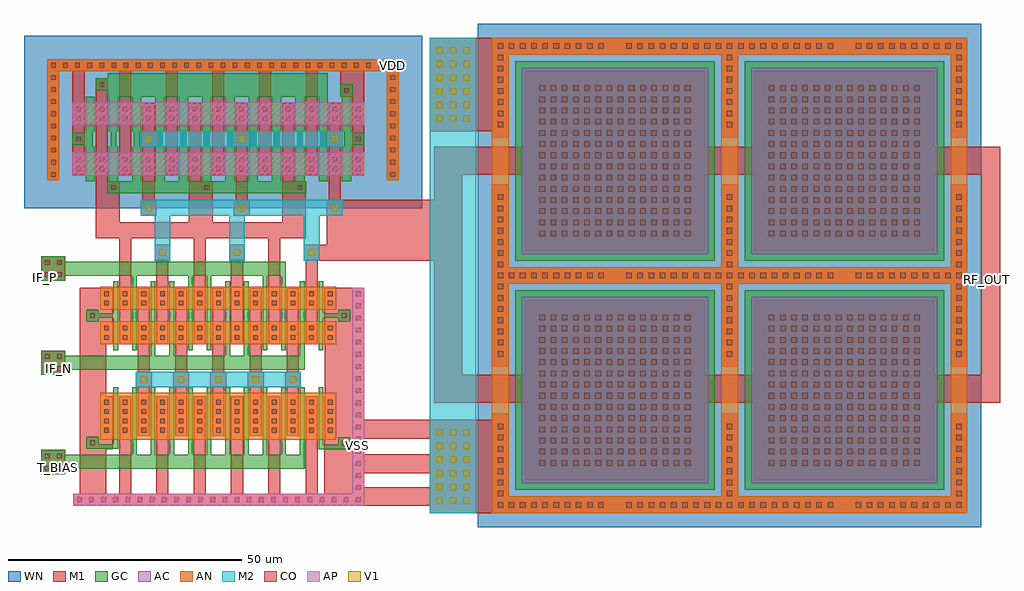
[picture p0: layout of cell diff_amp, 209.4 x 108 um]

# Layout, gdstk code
from math import pi, radians
import gdstk
lib = gdstk.Library(unit=1e-6, precision=1e-07)
def R(c, l, rs):  # rectangles x0, y0, x1, y1
    for r in rs: c.add(gdstk.rectangle(r[:2], r[2:], *l))
def A(c, l, x, y, w, h, nx, ny, dx, dy):  # array of equal rectangles
    R(c, l, [(x+i*dx, y+j*dy, x+i*dx+w, y+j*dy+h) for i in range(nx) for j in range(ny)])
def P(c, l, *ps):  # polygons
    for p in ps: c.add(gdstk.Polygon(p, *l))
AP = (3, 1)
AN = (3, 2)
AC = (3, 4)
GC = (8, 1)
CO = (11, 0)
M1 = (13, 0)
V1 = (19, 0)
M2 = (20, 0)
WN = (140, 0)

cont_g = lib.new_cell('cont_g')
R(cont_g, GC, [(-1.3,-1.3,1.3,1.3)])
R(cont_g, CO, [(-0.5,-0.5,0.5,0.5)])
R(cont_g, M1, [(-1.3,-1.3,1.3,1.3)])

moscap = lib.new_cell('moscap')
P(moscap, AN, [(-26.4,-26.4),(-26.4,22.8),(-22.8,22.8),(-22.8,-22.8),(22.8,-22.8),(22.8,22.8),(-26.4,22.8),(-26.4,26.4),(26.4,26.4),(26.4,-26.4)])
R(moscap, AC, [(-20,-20,20,20)])
R(moscap, GC, [(-21.4,-21.4,21.4,21.4)])
A(moscap, CO, -25.2, -25.2, 1.2, 1.2, 1, 10, 0, 2.4)
A(moscap, CO, -25.2, -25.2, 1.2, 1.2, 8, 2, 2.4, 49.2)
A(moscap, CO, 7.2, -25.2, 1.2, 1.2, 8, 2, 2.4, 49.2)
A(moscap, CO, 24, -25.2, 1.2, 1.2, 1, 10, 0, 2.4)
A(moscap, CO, -16.2, -16.2, 1.2, 1.2, 14, 14, 2.4, 2.4)
A(moscap, CO, -25.2, 2.4, 1.2, 1.2, 1, 10, 0, 2.4)
A(moscap, CO, 24, 2.4, 1.2, 1.2, 1, 10, 0, 2.4)
R(moscap, M1, [(-19.3,-19.3,19.3,19.3)])
P(moscap, M1, [(-26.4,-26.4),(-26.4,26.4),(-5,26.4),(-5,22.8),(-22.8,22.8),(-22.8,-22.8),(-5,-22.8),(-5,-26.4)],
  [(5,-26.4),(5,-22.8),(22.8,-22.8),(22.8,22.8),(5,22.8),(5,26.4),(26.4,26.4),(26.4,-26.4)])
R(moscap, WN, [(-29.4,-29.4,29.4,29.4)])

via_1 = lib.new_cell('via_1')
R(via_1, M1, [(-1.7,-1.7,1.7,1.7)])
R(via_1, V1, [(-0.7,-0.7,0.7,0.7)])
R(via_1, M2, [(-1.7,-1.7,1.7,1.7)])

cont_n = lib.new_cell('cont_n')
R(cont_n, AN, [(-1.3,-1.3,1.3,1.3)])
R(cont_n, CO, [(-0.5,-0.5,0.5,0.5)])
R(cont_n, M1, [(-1.3,-1.3,1.3,1.3)])

fet_p_3 = lib.new_cell('fet_p$3')
R(fet_p_3, AP, [(-3.8,-2.5,3.8,2.5)])
R(fet_p_3, CO, [(-3,-1.5,-2,-0.5), (2,-1.5,3,-0.5), (-3,0.5,-2,1.5), (2,0.5,3,1.5)])
R(fet_p_3, M1, [(-3.8,-2.3,-1.2,2.3), (1.2,-2.3,3.8,2.3)])
fet_p_3.add(gdstk.FlexPath([(0,-3.7),(0,3.7)], 2, ends="flush", simple_path=True, layer=8, datatype=1))  # GC

fet_p = lib.new_cell('fet_p')
R(fet_p, AP, [(-26.3,-2.5,26.3,2.5)])
A(fet_p, CO, -25.5, -1.5, 1, 1, 11, 2, 5, 2)
A(fet_p, M1, -26.3, -2.3, 2.6, 4.6, 11, 1, 5, 0)
fet_p.add(gdstk.FlexPath([(2.5,-3.7),(2.5,3.7)], 2, ends="flush", simple_path=True, layer=8, datatype=1))  # GC
fet_p.add(gdstk.FlexPath([(-2.5,-3.7),(-2.5,3.7)], 2, ends="flush", simple_path=True, layer=8, datatype=1))  # GC
fet_p.add(gdstk.FlexPath([(7.5,-3.7),(7.5,3.7)], 2, ends="flush", simple_path=True, layer=8, datatype=1))  # GC
fet_p.add(gdstk.FlexPath([(-7.5,-3.7),(-7.5,3.7)], 2, ends="flush", simple_path=True, layer=8, datatype=1))  # GC
fet_p.add(gdstk.FlexPath([(12.5,-3.7),(12.5,3.7)], 2, ends="flush", simple_path=True, layer=8, datatype=1))  # GC
fet_p.add(gdstk.FlexPath([(-12.5,-3.7),(-12.5,3.7)], 2, ends="flush", simple_path=True, layer=8, datatype=1))  # GC
fet_p.add(gdstk.FlexPath([(17.5,-3.7),(17.5,3.7)], 2, ends="flush", simple_path=True, layer=8, datatype=1))  # GC
fet_p.add(gdstk.FlexPath([(-17.5,-3.7),(-17.5,3.7)], 2, ends="flush", simple_path=True, layer=8, datatype=1))  # GC
fet_p.add(gdstk.FlexPath([(22.5,-3.7),(22.5,3.7)], 2, ends="flush", simple_path=True, layer=8, datatype=1))  # GC
fet_p.add(gdstk.FlexPath([(-22.5,-3.7),(-22.5,3.7)], 2, ends="flush", simple_path=True, layer=8, datatype=1))  # GC

via_1_2 = lib.new_cell('via_1$2')
R(via_1_2, M1, [(-5,-10,5,10)])
A(via_1_2, V1, -3.6, -8, 1.4, 1.4, 3, 3, 2.9, 2.9)
A(via_1_2, V1, -3.6, 0.8, 1.4, 1.4, 3, 3, 2.9, 2.9)
R(via_1_2, M2, [(-5,-10,5,10)])

cont_p = lib.new_cell('cont_p')
R(cont_p, AP, [(-1.3,-1.3,1.3,1.3)])
R(cont_p, CO, [(-0.5,-0.5,0.5,0.5)])
R(cont_p, M1, [(-1.3,-1.3,1.3,1.3)])

fet_n = lib.new_cell('fet_n')
R(fet_n, AN, [(-25.3,-2.5,25.3,2.5)])
A(fet_n, CO, -24.5, -1.5, 1, 1, 13, 2, 4, 2)
A(fet_n, M1, -25.3, -2.3, 2.6, 4.6, 13, 1, 4, 0)
fet_n.add(gdstk.FlexPath([(2,-3.7),(2,3.7)], 1, ends="flush", simple_path=True, layer=8, datatype=1))  # GC
fet_n.add(gdstk.FlexPath([(-2,-3.7),(-2,3.7)], 1, ends="flush", simple_path=True, layer=8, datatype=1))  # GC
fet_n.add(gdstk.FlexPath([(6,-3.7),(6,3.7)], 1, ends="flush", simple_path=True, layer=8, datatype=1))  # GC
fet_n.add(gdstk.FlexPath([(-6,-3.7),(-6,3.7)], 1, ends="flush", simple_path=True, layer=8, datatype=1))  # GC
fet_n.add(gdstk.FlexPath([(10,-3.7),(10,3.7)], 1, ends="flush", simple_path=True, layer=8, datatype=1))  # GC
fet_n.add(gdstk.FlexPath([(-10,-3.7),(-10,3.7)], 1, ends="flush", simple_path=True, layer=8, datatype=1))  # GC
fet_n.add(gdstk.FlexPath([(14,-3.7),(14,3.7)], 1, ends="flush", simple_path=True, layer=8, datatype=1))  # GC
fet_n.add(gdstk.FlexPath([(-14,-3.7),(-14,3.7)], 1, ends="flush", simple_path=True, layer=8, datatype=1))  # GC
fet_n.add(gdstk.FlexPath([(18,-3.7),(18,3.7)], 1, ends="flush", simple_path=True, layer=8, datatype=1))  # GC
fet_n.add(gdstk.FlexPath([(-18,-3.7),(-18,3.7)], 1, ends="flush", simple_path=True, layer=8, datatype=1))  # GC
fet_n.add(gdstk.FlexPath([(22,-3.7),(22,3.7)], 1, ends="flush", simple_path=True, layer=8, datatype=1))  # GC
fet_n.add(gdstk.FlexPath([(-22,-3.7),(-22,3.7)], 1, ends="flush", simple_path=True, layer=8, datatype=1))  # GC

fet_n_1 = lib.new_cell('fet_n$1')
R(fet_n_1, AN, [(-25.3,-5,25.3,5)])
A(fet_n_1, CO, -24.5, -3.5, 1, 1, 13, 4, 4, 2)
A(fet_n_1, M1, -25.3, -4.3, 2.6, 8.6, 13, 1, 4, 0)
fet_n_1.add(gdstk.FlexPath([(2,-6.2),(2,6.2)], 1, ends="flush", simple_path=True, layer=8, datatype=1))  # GC
fet_n_1.add(gdstk.FlexPath([(-2,-6.2),(-2,6.2)], 1, ends="flush", simple_path=True, layer=8, datatype=1))  # GC
fet_n_1.add(gdstk.FlexPath([(6,-6.2),(6,6.2)], 1, ends="flush", simple_path=True, layer=8, datatype=1))  # GC
fet_n_1.add(gdstk.FlexPath([(-6,-6.2),(-6,6.2)], 1, ends="flush", simple_path=True, layer=8, datatype=1))  # GC
fet_n_1.add(gdstk.FlexPath([(10,-6.2),(10,6.2)], 1, ends="flush", simple_path=True, layer=8, datatype=1))  # GC
fet_n_1.add(gdstk.FlexPath([(-10,-6.2),(-10,6.2)], 1, ends="flush", simple_path=True, layer=8, datatype=1))  # GC
fet_n_1.add(gdstk.FlexPath([(14,-6.2),(14,6.2)], 1, ends="flush", simple_path=True, layer=8, datatype=1))  # GC
fet_n_1.add(gdstk.FlexPath([(-14,-6.2),(-14,6.2)], 1, ends="flush", simple_path=True, layer=8, datatype=1))  # GC
fet_n_1.add(gdstk.FlexPath([(18,-6.2),(18,6.2)], 1, ends="flush", simple_path=True, layer=8, datatype=1))  # GC
fet_n_1.add(gdstk.FlexPath([(-18,-6.2),(-18,6.2)], 1, ends="flush", simple_path=True, layer=8, datatype=1))  # GC
fet_n_1.add(gdstk.FlexPath([(22,-6.2),(22,6.2)], 1, ends="flush", simple_path=True, layer=8, datatype=1))  # GC
fet_n_1.add(gdstk.FlexPath([(-22,-6.2),(-22,6.2)], 1, ends="flush", simple_path=True, layer=8, datatype=1))  # GC

diff_amp = lib.new_cell('diff_amp')
R(diff_amp, GC, [(21.5,-72,22.5,-71.1), (-22.5,-71.9,-21.5,-71.1), (-28.7,-7.1,-28.1,-3.7), (28,-7.1,28.7,-3.7)])
A(diff_amp, M1, -26.3, -23.3, 5.1, 6.2, 3, 1, 20, 0)
R(diff_amp, M1, [(54.8,-85.7,58.7,-65.7), (-29.7,-82.6,-24.1,-69.3), (22.7,-82,28.7,-69.2), (25.3,-72,25.7,-69.4), (-25.7,-71.9,-25.3,-69.3), (-29.7,-71.1,-24.1,-37.3), (22.8,-70.4,28.8,-37.3), (-25.7,-44.6,-25.3,-42), (25.3,-44.6,25.7,-42), (26.7,-25.5,52.3,-24.5), (55.3,-3.7,58.7,16.3), (26.2,3.7,28.7,9.1)])
R(diff_amp, WN, [(-41.7,-20.3,43.7,16.7)])
diff_amp.add(gdstk.FlexPath([(-22.5,-3.7),(-22.5,-7.1)], 1.2, ends="flush", simple_path=True, layer=8, datatype=1))  # GC
diff_amp.add(gdstk.FlexPath([(-17.5,-3.7),(-17.5,-7.1)], 1.2, ends="flush", simple_path=True, layer=8, datatype=1))  # GC
diff_amp.add(gdstk.FlexPath([(-12.5,-3.7),(-12.5,-7.1)], 1.2, ends="flush", simple_path=True, layer=8, datatype=1))  # GC
diff_amp.add(gdstk.FlexPath([(-7.5,-3.7),(-7.5,-7.1)], 1.2, ends="flush", simple_path=True, layer=8, datatype=1))  # GC
diff_amp.add(gdstk.FlexPath([(-2.5,-3.7),(-2.5,-7.1)], 1.2, ends="flush", simple_path=True, layer=8, datatype=1))  # GC
diff_amp.add(gdstk.FlexPath([(2.5,-3.7),(2.5,-7.1)], 1.2, ends="flush", simple_path=True, layer=8, datatype=1))  # GC
diff_amp.add(gdstk.FlexPath([(7.5,-3.7),(7.5,-7.1)], 1.2, ends="flush", simple_path=True, layer=8, datatype=1))  # GC
diff_amp.add(gdstk.FlexPath([(12.5,-3.7),(12.5,-7.1)], 1.2, ends="flush", simple_path=True, layer=8, datatype=1))  # GC
diff_amp.add(gdstk.FlexPath([(17.5,-3.7),(17.5,-7.1)], 1.2, ends="flush", simple_path=True, layer=8, datatype=1))  # GC
diff_amp.add(gdstk.FlexPath([(22.5,-3.7),(22.5,-7.1)], 1.2, ends="flush", simple_path=True, layer=8, datatype=1))  # GC
diff_amp.add(gdstk.FlexPath([(-23.7,6.2),(23.5,6.2)], 5, ends="flush", simple_path=True, layer=8, datatype=1))  # GC
diff_amp.add(gdstk.FlexPath([(-23.8,-15.8),(18.9,-15.8)], 2.6, ends="flush", simple_path=True, layer=8, datatype=1))  # GC
diff_amp.add(gdstk.FlexPath([(-27.5,-3.7),(-27.5,-7.1)], 1.2, ends="flush", simple_path=True, layer=8, datatype=1))  # GC
diff_amp.add(gdstk.FlexPath([(27.5,-3.7),(27.5,-7.1)], 1, ends="flush", simple_path=True, layer=8, datatype=1))  # GC
diff_amp.add(gdstk.FlexPath([(14.5,-33.2),(-33,-33.2)], 3, ends="flush", simple_path=True, layer=8, datatype=1))  # GC
diff_amp.add(gdstk.FlexPath([(18.5,-53.4),(-34.7,-53.4)], 3, ends="flush", simple_path=True, layer=8, datatype=1))  # GC
diff_amp.add(gdstk.FlexPath([(-18,-35.9),(-18,-34.7)], 1, ends="flush", simple_path=True, layer=8, datatype=1))  # GC
diff_amp.add(gdstk.FlexPath([(-2,-35.9),(-2,-34.7)], 1, ends="flush", simple_path=True, layer=8, datatype=1))  # GC
diff_amp.add(gdstk.FlexPath([(2,-50.7),(2,-51.9)], 1, ends="flush", simple_path=True, layer=8, datatype=1))  # GC
diff_amp.add(gdstk.FlexPath([(-14,-50.7),(-14,-51.9)], 1, ends="flush", simple_path=True, layer=8, datatype=1))  # GC
diff_amp.add(gdstk.FlexPath([(-10,-50.7),(-10,-51.9)], 1, ends="flush", simple_path=True, layer=8, datatype=1))  # GC
diff_amp.add(gdstk.FlexPath([(22.5,-43.3),(26.1,-43.3)], 1, ends="flush", simple_path=True, layer=8, datatype=1))  # GC
diff_amp.add(gdstk.FlexPath([(-22.5,-43.3),(-25.7,-43.3)], 1, ends="flush", simple_path=True, layer=8, datatype=1))  # GC
diff_amp.add(gdstk.FlexPath([(-22.5,-71.4),(-25.7,-71.4)], 1, ends="flush", simple_path=True, layer=8, datatype=1))  # GC
diff_amp.add(gdstk.FlexPath([(-6,-35.9),(-6,-34.7)], 1, ends="flush", simple_path=True, layer=8, datatype=1))  # GC
diff_amp.add(gdstk.FlexPath([(18.5,-74.7),(-37,-74.7)], 3, ends="flush", simple_path=True, layer=8, datatype=1))  # GC
diff_amp.add(gdstk.FlexPath([(2,-71.1),(2,-73.2)], 1, ends="flush", simple_path=True, layer=8, datatype=1))  # GC
diff_amp.add(gdstk.FlexPath([(6,-71.1),(6,-73.2)], 1, ends="flush", simple_path=True, layer=8, datatype=1))  # GC
diff_amp.add(gdstk.FlexPath([(10,-71.1),(10,-73.2)], 1, ends="flush", simple_path=True, layer=8, datatype=1))  # GC
diff_amp.add(gdstk.FlexPath([(14,-71.1),(14,-73.2)], 1, ends="flush", simple_path=True, layer=8, datatype=1))  # GC
diff_amp.add(gdstk.FlexPath([(-2,-71.1),(-2,-73.2)], 1, ends="flush", simple_path=True, layer=8, datatype=1))  # GC
diff_amp.add(gdstk.FlexPath([(22.5,-71.5),(25.7,-71.5)], 1, ends="flush", simple_path=True, layer=8, datatype=1))  # GC
diff_amp.add(gdstk.FlexPath([(6,-50.7),(6,-51.9)], 1, ends="flush", simple_path=True, layer=8, datatype=1))  # GC
diff_amp.add(gdstk.FlexPath([(-14,-71.1),(-14,-73.2)], 1, ends="flush", simple_path=True, layer=8, datatype=1))  # GC
diff_amp.add(gdstk.FlexPath([(-10,-71.1),(-10,-73.2)], 1, ends="flush", simple_path=True, layer=8, datatype=1))  # GC
diff_amp.add(gdstk.FlexPath([(-6,-71.1),(-6,-73.2)], 1, ends="flush", simple_path=True, layer=8, datatype=1))  # GC
diff_amp.add(gdstk.FlexPath([(-18,-71.1),(-18,-73.2)], 1, ends="flush", simple_path=True, layer=8, datatype=1))  # GC
diff_amp.add(gdstk.FlexPath([(18,-71.1),(18,-73.2)], 1, ends="flush", simple_path=True, layer=8, datatype=1))  # GC
diff_amp.add(gdstk.FlexPath([(18,-50.7),(18,-51.9)], 1, ends="flush", simple_path=True, layer=8, datatype=1))  # GC
diff_amp.add(gdstk.FlexPath([(14,-35.9),(14,-34.7)], 1, ends="flush", simple_path=True, layer=8, datatype=1))  # GC
diff_amp.add(gdstk.FlexPath([(10,-35.9),(10,-34.7)], 1, ends="flush", simple_path=True, layer=8, datatype=1))  # GC
diff_amp.add(gdstk.FlexPath([(-25,-2.3),(-25,-8.5)], 2.6, ends="flush", simple_path=True, layer=13, datatype=0))  # M1
diff_amp.add(gdstk.FlexPath([(-20,-2.3),(-20,-8.5)], 2.6, ends="flush", simple_path=True, layer=13, datatype=0))  # M1
diff_amp.add(gdstk.FlexPath([(-15,-2.3),(-15,-8.5)], 2.6, ends="flush", simple_path=True, layer=13, datatype=0))  # M1
diff_amp.add(gdstk.FlexPath([(-10,-2.3),(-10,-8.5)], 2.6, ends="flush", simple_path=True, layer=13, datatype=0))  # M1
diff_amp.add(gdstk.FlexPath([(-5,-2.3),(-5,-8.5)], 2.6, ends="flush", simple_path=True, layer=13, datatype=0))  # M1
diff_amp.add(gdstk.FlexPath([(0,-2.3),(0,-8.5)], 2.6, ends="flush", simple_path=True, layer=13, datatype=0))  # M1
diff_amp.add(gdstk.FlexPath([(5,-2.3),(5,-8.5)], 2.6, ends="flush", simple_path=True, layer=13, datatype=0))  # M1
diff_amp.add(gdstk.FlexPath([(10,-2.3),(10,-8.5)], 2.6, ends="flush", simple_path=True, layer=13, datatype=0))  # M1
diff_amp.add(gdstk.FlexPath([(15,-2.3),(15,-8.5)], 2.6, ends="flush", simple_path=True, layer=13, datatype=0))  # M1
diff_amp.add(gdstk.FlexPath([(20,-2.3),(20,-8.5)], 2.6, ends="flush", simple_path=True, layer=13, datatype=0))  # M1
diff_amp.add(gdstk.FlexPath([(25,-2.3),(25,-8.5)], 2.6, ends="flush", simple_path=True, layer=13, datatype=0))  # M1
diff_amp.add(gdstk.FlexPath([(-25,-13.1),(-25,-15.8),(-21.2,-15.8)], 2.6, ends="flush", simple_path=True, layer=13, datatype=0))  # M1
diff_amp.add(gdstk.FlexPath([(-15,-13.1),(-15,-18.5)], 2.6, ends="flush", simple_path=True, layer=13, datatype=0))  # M1
diff_amp.add(gdstk.FlexPath([(-5,-13.1),(-5,-15.8),(-1.2,-15.8)], 2.6, ends="flush", simple_path=True, layer=13, datatype=0))  # M1
diff_amp.add(gdstk.FlexPath([(5,-13.1),(5,-18.5)], 2.6, ends="flush", simple_path=True, layer=13, datatype=0))  # M1
diff_amp.add(gdstk.FlexPath([(15,-13.1),(15,-15.8),(18.8,-15.8)], 2.6, ends="flush", simple_path=True, layer=13, datatype=0))  # M1
diff_amp.add(gdstk.FlexPath([(25,-13.1),(25,-18.5)], 2.6, ends="flush", simple_path=True, layer=13, datatype=0))  # M1
diff_amp.add(gdstk.FlexPath([(-20,2.3),(-20,11.4)], 2.6, ends="flush", simple_path=True, layer=13, datatype=0))  # M1
diff_amp.add(gdstk.FlexPath([(-10,2.3),(-10,11.5)], 2.6, ends="flush", simple_path=True, layer=13, datatype=0))  # M1
diff_amp.add(gdstk.FlexPath([(-26.3,-25),(18.8,-25)], 3.4, ends="flush", simple_path=True, layer=13, datatype=0))  # M1
diff_amp.add(gdstk.FlexPath([(-25,2.3),(-25,7.4)], 2.6, ends="flush", simple_path=True, layer=13, datatype=0))  # M1
diff_amp.add(gdstk.FlexPath([(0,2.3),(0,11.5)], 2.6, ends="flush", simple_path=True, layer=13, datatype=0))  # M1
diff_amp.add(gdstk.FlexPath([(10,2.3),(10,11.5)], 2.6, ends="flush", simple_path=True, layer=13, datatype=0))  # M1
diff_amp.add(gdstk.FlexPath([(20,2.3),(20,11.5)], 2.6, ends="flush", simple_path=True, layer=13, datatype=0))  # M1
diff_amp.add(gdstk.FlexPath([(-16,-49.3),(-16,-60.6)], 2.6, ends="flush", simple_path=True, layer=13, datatype=0))  # M1
diff_amp.add(gdstk.FlexPath([(-16,-41.9),(-16,-44.7)], 2.6, ends="flush", simple_path=True, layer=13, datatype=0))  # M1
diff_amp.add(gdstk.FlexPath([(-4,-37.3),(-4,-25)], 2.6, ends="flush", simple_path=True, layer=13, datatype=0))  # M1
diff_amp.add(gdstk.FlexPath([(-8,-49.3),(-8,-60.7)], 2.6, ends="flush", simple_path=True, layer=13, datatype=0))  # M1
diff_amp.add(gdstk.FlexPath([(-12,-37.3),(-12,-28.1)], 2.6, ends="flush", simple_path=True, layer=13, datatype=0))  # M1
diff_amp.add(gdstk.FlexPath([(0,-49.3),(0,-60.6)], 2.6, ends="flush", simple_path=True, layer=13, datatype=0))  # M1
diff_amp.add(gdstk.FlexPath([(-30,-2.3),(-30,-8.5)], 2.6, ends="flush", simple_path=True, layer=13, datatype=0))  # M1
diff_amp.add(gdstk.FlexPath([(30,-2.3),(30,-8.5)], 2.6, ends="flush", simple_path=True, layer=13, datatype=0))  # M1
diff_amp.add(gdstk.FlexPath([(30,2.3),(30,10.5)], 2.6, ends="flush", simple_path=True, layer=13, datatype=0))  # M1
diff_amp.add(gdstk.FlexPath([(-30,2.3),(-30,10.9)], 2.6, ends="flush", simple_path=True, layer=13, datatype=0))  # M1
diff_amp.add(gdstk.FlexPath([(-8,-41.9),(-8,-44.7)], 2.6, ends="flush", simple_path=True, layer=13, datatype=0))  # M1
diff_amp.add(gdstk.FlexPath([(0,-41.9),(0,-44.7)], 2.6, ends="flush", simple_path=True, layer=13, datatype=0))  # M1
diff_amp.add(gdstk.FlexPath([(-20,-41.9),(-20,-44.8)], 2.6, ends="flush", simple_path=True, layer=13, datatype=0))  # M1
diff_amp.add(gdstk.FlexPath([(-12,-41.9),(-12,-44.7)], 2.6, ends="flush", simple_path=True, layer=13, datatype=0))  # M1
diff_amp.add(gdstk.FlexPath([(-4,-41.9),(-4,-44.7)], 2.6, ends="flush", simple_path=True, layer=13, datatype=0))  # M1
diff_amp.add(gdstk.FlexPath([(-20,-37.3),(-20,-25)], 2.6, ends="flush", simple_path=True, layer=13, datatype=0))  # M1
diff_amp.add(gdstk.FlexPath([(-24,-41.9),(-24,-44.7)], 2.6, ends="flush", simple_path=True, layer=13, datatype=0))  # M1
diff_amp.add(gdstk.FlexPath([(24,-41.9),(24,-44.7)], 2.6, ends="flush", simple_path=True, layer=13, datatype=0))  # M1
diff_amp.add(gdstk.FlexPath([(-24,-69.2),(-24,-72)], 2.6, ends="flush", simple_path=True, layer=13, datatype=0))  # M1
diff_amp.add(gdstk.FlexPath([(24,-69.3),(24,-72.1)], 2.6, ends="flush", simple_path=True, layer=13, datatype=0))  # M1
diff_amp.add(gdstk.FlexPath([(-4,-69.2),(-4,-82.5)], 2.6, ends="flush", simple_path=True, layer=13, datatype=0))  # M1
diff_amp.add(gdstk.FlexPath([(4,-69.2),(4,-82.4)], 2.6, ends="flush", simple_path=True, layer=13, datatype=0))  # M1
diff_amp.add(gdstk.FlexPath([(12,-69.2),(12,-82.6)], 2.6, ends="flush", simple_path=True, layer=13, datatype=0))  # M1
diff_amp.add(gdstk.FlexPath([(23.3,-21.5),(49.3,-21.5),(49.3,-10.1),(163.7,-10.1)], 6, ends="flush", simple_path=True, layer=13, datatype=0))  # M1
diff_amp.add(gdstk.FlexPath([(18.3,-29.8),(25,-29.8),(25,-23.1)], 3.4, ends="flush", simple_path=True, layer=13, datatype=0))  # M1
diff_amp.add(gdstk.FlexPath([(24.9,-28.5),(49.3,-28.5),(49.3,-59),(163.7,-59)], 6, ends="flush", simple_path=True, layer=13, datatype=0))  # M1
diff_amp.add(gdstk.FlexPath([(47.7,-67.7),(30.4,-67.7)], 4, ends="flush", simple_path=True, layer=13, datatype=0))  # M1
diff_amp.add(gdstk.FlexPath([(47.7,-75.1),(30.2,-75.1)], 4, ends="flush", simple_path=True, layer=13, datatype=0))  # M1
diff_amp.add(gdstk.FlexPath([(47,-82.1),(29.7,-82.1)], 4, ends="flush", simple_path=True, layer=13, datatype=0))  # M1
diff_amp.add(gdstk.FlexPath([(12,-37.3),(12,-25)], 2.6, ends="flush", simple_path=True, layer=13, datatype=0))  # M1
diff_amp.add(gdstk.FlexPath([(4,-37.3),(4,-28.1)], 2.6, ends="flush", simple_path=True, layer=13, datatype=0))  # M1
diff_amp.add(gdstk.FlexPath([(20,-37.3),(20,-28.1)], 2.6, ends="flush", simple_path=True, layer=13, datatype=0))  # M1
diff_amp.add(gdstk.FlexPath([(8,-49.3),(8,-60.6)], 2.6, ends="flush", simple_path=True, layer=13, datatype=0))  # M1
diff_amp.add(gdstk.FlexPath([(16,-49.3),(16,-60.6)], 2.6, ends="flush", simple_path=True, layer=13, datatype=0))  # M1
diff_amp.add(gdstk.FlexPath([(-20,-69.2),(-20,-82)], 2.6, ends="flush", simple_path=True, layer=13, datatype=0))  # M1
diff_amp.add(gdstk.FlexPath([(-12,-69.2),(-12,-82.9)], 2.6, ends="flush", simple_path=True, layer=13, datatype=0))  # M1
diff_amp.add(gdstk.FlexPath([(20,-69.2),(20,-82.4)], 2.6, ends="flush", simple_path=True, layer=13, datatype=0))  # M1
diff_amp.add(gdstk.FlexPath([(8,-41.9),(8,-44.7)], 2.6, ends="flush", simple_path=True, layer=13, datatype=0))  # M1
diff_amp.add(gdstk.FlexPath([(16,-41.9),(16,-44.7)], 2.6, ends="flush", simple_path=True, layer=13, datatype=0))  # M1
diff_amp.add(gdstk.FlexPath([(4,-41.9),(4,-44.8)], 2.6, ends="flush", simple_path=True, layer=13, datatype=0))  # M1
diff_amp.add(gdstk.FlexPath([(12,-41.9),(12,-44.7)], 2.6, ends="flush", simple_path=True, layer=13, datatype=0))  # M1
diff_amp.add(gdstk.FlexPath([(20,-41.9),(20,-44.7)], 2.6, ends="flush", simple_path=True, layer=13, datatype=0))  # M1
diff_amp.add(gdstk.FlexPath([(165.7,-7.1),(165.7,-62)], 4, ends="flush", simple_path=True, layer=13, datatype=0))  # M1
diff_amp.add(gdstk.FlexPath([(26.7,-5.4),(-16.7,-5.4)], 3.4, ends="flush", simple_path=True, layer=20, datatype=0))  # M2
diff_amp.add(gdstk.FlexPath([(-16.7,-20.2),(26.7,-20.2)], 3.4, ends="flush", simple_path=True, layer=20, datatype=0))  # M2
diff_amp.add(gdstk.FlexPath([(-12,-31.1),(-12,-20.3)], 3.4, ends="flush", simple_path=True, layer=20, datatype=0))  # M2
diff_amp.add(gdstk.FlexPath([(50.3,-1),(50.3,-85.7)], 10, ends="flush", simple_path=True, layer=20, datatype=0))  # M2
diff_amp.add(gdstk.FlexPath([(4,-31.1),(4,-20.3)], 3.4, ends="flush", simple_path=True, layer=20, datatype=0))  # M2
diff_amp.add(gdstk.FlexPath([(20,-31.1),(20,-20.3)], 3.4, ends="flush", simple_path=True, layer=20, datatype=0))  # M2
diff_amp.add(gdstk.FlexPath([(17.7,-57),(-17.6,-57)], 3.4, ends="flush", simple_path=True, layer=20, datatype=0))  # M2
diff_amp.add(gdstk.Reference(cont_g, (-34.1,-34.5)))
diff_amp.add(gdstk.Reference(cont_g, (-36.7,-34.5)))
diff_amp.add(gdstk.Reference(moscap, (134.3,-59.3), rotation=pi/2))
diff_amp.add(gdstk.Reference(moscap, (85.1,-10.1), rotation=pi/2))
diff_amp.add(gdstk.Reference(moscap, (85.1,-59.3), rotation=pi/2))
diff_amp.add(gdstk.Reference(moscap, (134.3,-10.1), rotation=pi/2))
diff_amp.add(gdstk.Reference(via_1, (25,-20.2)))
diff_amp.add(gdstk.Reference(cont_g, (17.5,-15.8)))
diff_amp.add(gdstk.Reference(via_1, (5,-5.4)))
diff_amp.add(gdstk.Reference(via_1, (25,-5.4)))
diff_amp.add(gdstk.Reference(via_1, (5,-20.2)))
diff_amp.add(gdstk.Reference(cont_g, (-25,6.3)))
diff_amp.add(gdstk.Reference(cont_n, (-35.4,7.8)))
diff_amp.add(gdstk.Reference(cont_n, (-35.4,10.4)))
diff_amp.add(gdstk.Reference(cont_n, (24.4,10.4)))
diff_amp.add(gdstk.Reference(cont_n, (21.8,10.4)))
diff_amp.add(gdstk.Reference(cont_n, (19.2,10.4)))
diff_amp.add(gdstk.Reference(cont_n, (16.6,10.4)))
diff_amp.add(gdstk.Reference(cont_n, (14,10.4)))
diff_amp.add(gdstk.Reference(cont_n, (11.4,10.4)))
diff_amp.add(gdstk.Reference(cont_n, (8.8,10.4)))
diff_amp.add(gdstk.Reference(cont_n, (6.2,10.4)))
diff_amp.add(gdstk.Reference(cont_n, (3.6,10.4)))
diff_amp.add(gdstk.Reference(cont_n, (1,10.4)))
diff_amp.add(gdstk.Reference(cont_n, (-1.6,10.4)))
diff_amp.add(gdstk.Reference(cont_n, (-4.2,10.4)))
diff_amp.add(gdstk.Reference(cont_n, (-6.8,10.4)))
diff_amp.add(gdstk.Reference(cont_n, (-9.4,10.4)))
diff_amp.add(gdstk.Reference(cont_n, (-12,10.4)))
diff_amp.add(gdstk.Reference(cont_n, (-14.6,10.4)))
diff_amp.add(gdstk.Reference(cont_n, (-17.2,10.4)))
diff_amp.add(gdstk.Reference(cont_n, (-19.8,10.4)))
diff_amp.add(gdstk.Reference(cont_n, (-22.4,10.4)))
diff_amp.add(gdstk.Reference(cont_n, (-25,10.4)))
diff_amp.add(gdstk.Reference(cont_n, (-27.6,10.4)))
diff_amp.add(gdstk.Reference(cont_n, (-30.2,10.4)))
diff_amp.add(gdstk.Reference(cont_n, (27,10.4)))
diff_amp.add(gdstk.Reference(cont_n, (-35.4,5.2)))
diff_amp.add(gdstk.Reference(cont_n, (-35.4,2.6)))
diff_amp.add(gdstk.Reference(cont_n, (-35.4,0)))
diff_amp.add(gdstk.Reference(cont_n, (-35.4,-2.6)))
diff_amp.add(gdstk.Reference(cont_n, (-35.4,-5.2)))
diff_amp.add(gdstk.Reference(cont_n, (-35.4,-7.8)))
diff_amp.add(gdstk.Reference(cont_n, (-35.4,-10.4)))
diff_amp.add(gdstk.Reference(cont_n, (-35.4,-13)))
diff_amp.add(gdstk.Reference(cont_g, (-34.1,-31.9)))
diff_amp.add(gdstk.Reference(cont_n, (37.4,7.8)))
diff_amp.add(gdstk.Reference(cont_n, (37.4,5.2)))
diff_amp.add(gdstk.Reference(cont_n, (37.4,2.6)))
diff_amp.add(gdstk.Reference(cont_n, (37.4,0)))
diff_amp.add(gdstk.Reference(cont_n, (37.4,-2.6)))
diff_amp.add(gdstk.Reference(cont_n, (37.4,-5.2)))
diff_amp.add(gdstk.Reference(cont_n, (37.4,-7.8)))
diff_amp.add(gdstk.Reference(cont_n, (37.4,-10.4)))
diff_amp.add(gdstk.Reference(cont_n, (37.4,-13)))
diff_amp.add(gdstk.Reference(fet_p_3, (27.5,0)))
diff_amp.add(gdstk.Reference(fet_p_3, (27.5,-10.8)))
diff_amp.add(gdstk.Reference(fet_p_3, (-27.5,-10.8)))
diff_amp.add(gdstk.Reference(fet_p_3, (-27.5,0)))
diff_amp.add(gdstk.Reference(cont_g, (-30,-5.4)))
diff_amp.add(gdstk.Reference(cont_n, (37.4,10.4)))
diff_amp.add(gdstk.Reference(cont_g, (27.5,5)))
diff_amp.add(gdstk.Reference(cont_g, (30,-5.4)))
diff_amp.add(gdstk.Reference(cont_n, (-32.8,10.4)))
diff_amp.add(gdstk.Reference(cont_n, (34.8,10.4)))
diff_amp.add(gdstk.Reference(cont_n, (32.2,10.4)))
diff_amp.add(gdstk.Reference(cont_n, (29.6,10.4)))
diff_amp.add(gdstk.Reference(via_1, (-12,-29.8)))
diff_amp.add(gdstk.Reference(fet_p, (0,0)))
diff_amp.add(gdstk.Reference(cont_g, (-36.7,-31.9)))
diff_amp.add(gdstk.Reference(fet_p, (0,-10.8)))
diff_amp.add(gdstk.Reference(via_1, (-15,-20.2)))
diff_amp.add(gdstk.Reference(cont_g, (-22.5,-15.8)))
diff_amp.add(gdstk.Reference(via_1, (-15,-5.4)))
diff_amp.add(gdstk.Reference(via_1, (4,-29.8)))
diff_amp.add(gdstk.Reference(via_1, (20,-29.8)))
diff_amp.add(gdstk.Reference(cont_g, (-2.5,-15.8)))
diff_amp.add(gdstk.Reference(via_1_2, (50.3,6.3)))
diff_amp.add(gdstk.Reference(cont_g, (-36.7,-54.7)))
diff_amp.add(gdstk.Reference(cont_g, (-36.7,-52.1)))
diff_amp.add(gdstk.Reference(cont_g, (-27,-70.6)))
diff_amp.add(gdstk.Reference(cont_g, (27,-70.7)))
diff_amp.add(gdstk.Reference(cont_g, (-34.1,-73.4)))
diff_amp.add(gdstk.Reference(cont_g, (-34.1,-76)))
diff_amp.add(gdstk.Reference(cont_g, (-36.7,-76)))
diff_amp.add(gdstk.Reference(cont_g, (-36.7,-73.4)))
diff_amp.add(gdstk.Reference(cont_p, (30,-38.6)))
diff_amp.add(gdstk.Reference(cont_p, (30,-41.2)))
diff_amp.add(gdstk.Reference(cont_p, (30,-43.8)))
diff_amp.add(gdstk.Reference(cont_p, (30,-46.4)))
diff_amp.add(gdstk.Reference(cont_p, (30,-49)))
diff_amp.add(gdstk.Reference(cont_p, (30,-51.6)))
diff_amp.add(gdstk.Reference(cont_p, (30,-54.2)))
diff_amp.add(gdstk.Reference(cont_p, (30,-56.8)))
diff_amp.add(gdstk.Reference(cont_p, (30,-59.4)))
diff_amp.add(gdstk.Reference(cont_p, (30,-62)))
diff_amp.add(gdstk.Reference(cont_g, (27,-43.3)))
diff_amp.add(gdstk.Reference(fet_n, (0,-47)))
diff_amp.add(gdstk.Reference(cont_p, (30,-64.6)))
diff_amp.add(gdstk.Reference(cont_p, (30,-67.2)))
diff_amp.add(gdstk.Reference(cont_p, (30,-69.8)))
diff_amp.add(gdstk.Reference(cont_p, (30,-72.4)))
diff_amp.add(gdstk.Reference(cont_p, (27.4,-82.8)))
diff_amp.add(gdstk.Reference(cont_p, (24.8,-82.8)))
diff_amp.add(gdstk.Reference(cont_p, (22.2,-82.8)))
diff_amp.add(gdstk.Reference(cont_p, (19.6,-82.8)))
diff_amp.add(gdstk.Reference(cont_p, (17,-82.8)))
diff_amp.add(gdstk.Reference(cont_p, (14.4,-82.8)))
diff_amp.add(gdstk.Reference(cont_p, (11.8,-82.8)))
diff_amp.add(gdstk.Reference(cont_p, (9.2,-82.8)))
diff_amp.add(gdstk.Reference(cont_p, (6.6,-82.8)))
diff_amp.add(gdstk.Reference(cont_p, (4,-82.8)))
diff_amp.add(gdstk.Reference(cont_p, (1.4,-82.8)))
diff_amp.add(gdstk.Reference(cont_p, (-1.2,-82.8)))
diff_amp.add(gdstk.Reference(cont_p, (-3.8,-82.8)))
diff_amp.add(gdstk.Reference(cont_p, (-6.4,-82.8)))
diff_amp.add(gdstk.Reference(fet_n_1, (0,-64.9)))
diff_amp.add(gdstk.Reference(via_1_2, (50.3,-75.7)))
diff_amp.add(gdstk.Reference(fet_n, (0,-39.6)))
diff_amp.add(gdstk.Reference(cont_g, (-27,-43.3)))
diff_amp.add(gdstk.Reference(cont_p, (-9,-82.8)))
diff_amp.add(gdstk.Reference(cont_p, (-11.6,-82.8)))
diff_amp.add(gdstk.Reference(cont_p, (-14.2,-82.8)))
diff_amp.add(gdstk.Reference(cont_p, (-16.8,-82.8)))
diff_amp.add(gdstk.Reference(cont_p, (-19.4,-82.8)))
diff_amp.add(gdstk.Reference(cont_p, (-22,-82.8)))
diff_amp.add(gdstk.Reference(cont_p, (-24.6,-82.8)))
diff_amp.add(gdstk.Reference(cont_p, (-27.2,-82.8)))
diff_amp.add(gdstk.Reference(cont_p, (-29.8,-82.8)))
diff_amp.add(gdstk.Reference(via_1, (-16,-57)))
diff_amp.add(gdstk.Reference(via_1, (-8,-57)))
diff_amp.add(gdstk.Reference(via_1, (0,-57)))
diff_amp.add(gdstk.Reference(via_1, (8,-57)))
diff_amp.add(gdstk.Reference(via_1, (16,-57)))
diff_amp.add(gdstk.Reference(cont_p, (30,-75)))
diff_amp.add(gdstk.Reference(cont_p, (30,-77.6)))
diff_amp.add(gdstk.Reference(cont_p, (30,-80.2)))
diff_amp.add(gdstk.Reference(cont_p, (30,-82.8)))
diff_amp.add(gdstk.Reference(cont_g, (-34.1,-52.1)))
diff_amp.add(gdstk.Reference(cont_g, (-34.1,-54.7)))
diff_amp.add(gdstk.Label('IF_P', (-37.2,-35.2), layer=48, texttype=0))
diff_amp.add(gdstk.Label('IF_N', (-34.3,-54.6), layer=48, texttype=0))
diff_amp.add(gdstk.Label('T_BIAS', (-34.3,-75.9), layer=48, texttype=0))
diff_amp.add(gdstk.Label('VSS', (29.9,-71.2), layer=48, texttype=0))
diff_amp.add(gdstk.Label('VDD', (37.4,10.3), layer=48, texttype=0))
diff_amp.add(gdstk.Label('RF_OUT', (164.8,-35.5), layer=48, texttype=0))

lib.write_gds('diff_amp.gds')
